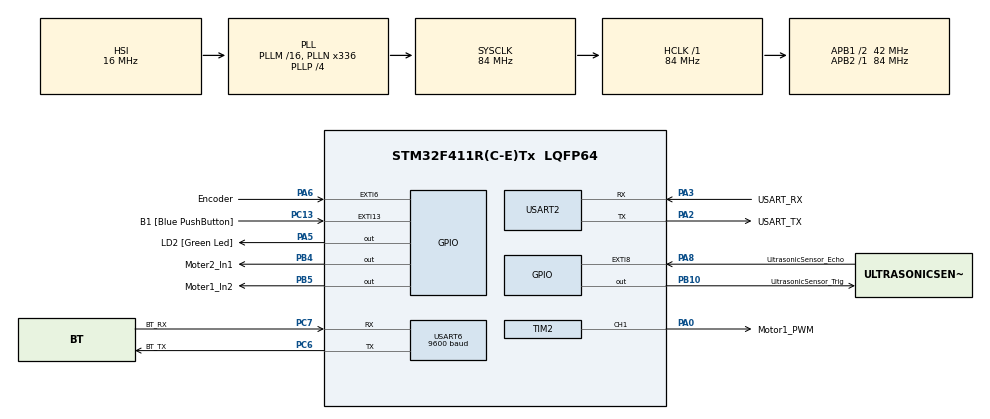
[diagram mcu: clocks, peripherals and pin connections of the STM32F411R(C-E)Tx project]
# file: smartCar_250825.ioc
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Mcu.Family=STM32F4
Mcu.Name=STM32F411R(C-E)Tx
Mcu.Package=LQFP64
NVIC.EXTI15_10_IRQn=true\:0\:0\:false\:false\:true\:true\:true\:true
NVIC.EXTI9_5_IRQn=true\:0\:0\:false\:false\:true\:true\:true\:true
NVIC.PriorityGroup=NVIC_PRIORITYGROUP_0
NVIC.TIM1_BRK_TIM9_IRQn=true\:0\:0\:false\:false\:true\:true\:true\:true
NVIC.TIM4_IRQn=true\:0\:0\:false\:false\:true\:true\:true\:true
NVIC.USART2_IRQn=true\:0\:0\:false\:false\:true\:true\:true\:true
NVIC.USART6_IRQn=true\:0\:0\:false\:false\:true\:true\:true\:true
PA0-WKUP.GPIO_Label=Motor1_PWM
PA0-WKUP.Signal=S_TIM2_CH1_ETR
PA13.GPIO_Label=TMS
PA13.Mode=Serial_Wire
PA13.Signal=SYS_JTMS-SWDIO
PA14.GPIO_Label=TCK
PA14.Mode=Serial_Wire
PA14.Signal=SYS_JTCK-SWCLK
PA2.GPIO_Label=USART_TX
PA2.Mode=Asynchronous
PA2.Signal=USART2_TX
PA3.GPIO_Label=USART_RX
PA3.Mode=Asynchronous
PA3.Signal=USART2_RX
PA5.GPIO_Label=LD2 [Green Led]
PA5.Signal=GPIO_Output
PA6.GPIO_Label=Encoder
PA6.GPIO_ModeDefaultEXTI=GPIO_MODE_IT_FALLING
PA6.Signal=GPXTI6
PA8.GPIO_Label=UltrasonicSensor_Echo
PA8.GPIO_ModeDefaultEXTI=GPIO_MODE_IT_RISING_FALLING
PA8.Signal=GPXTI8
PB10.GPIO_Label=UltrasonicSensor_Trig
PB10.Signal=GPIO_Output
PB3.GPIO_Label=SWO
PB3.Signal=SYS_JTDO-SWO
PB4.GPIO_Label=Moter2_In1
PB4.Signal=GPIO_Output
PB5.GPIO_Label=Moter1_In2
PB5.Signal=GPIO_Output
PC13-ANTI_TAMP.GPIO_Label=B1 [Blue PushButton]
PC13-ANTI_TAMP.GPIO_ModeDefaultEXTI=GPIO_MODE_IT_FALLING
PC13-ANTI_TAMP.Signal=GPXTI13
PC14-OSC32_IN.Mode=LSE-External-Oscillator
PC14-OSC32_IN.Signal=RCC_OSC32_IN
PC15-OSC32_OUT.Mode=LSE-External-Oscillator
PC15-OSC32_OUT.Signal=RCC_OSC32_OUT
PC6.GPIO_Label=BT_TX
PC6.GPIO_ModeDefaultPP=GPIO_MODE_AF_PP
PC6.GPIO_PuPd=GPIO_NOPULL
PC6.GPIO_Speed=GPIO_SPEED_FREQ_VERY_HIGH
PC6.Mode=Asynchronous
PC6.Signal=USART6_TX
PC7.GPIO_Label=BT_RX
PC7.GPIO_ModeDefaultPP=GPIO_MODE_AF_PP
PC7.GPIO_PuPd=GPIO_NOPULL
PC7.GPIO_Speed=GPIO_SPEED_FREQ_VERY_HIGH
PC7.Mode=Asynchronous
PC7.Signal=USART6_RX
PH0\ -\ OSC_IN.Mode=HSE-External-Clock-Source
PH0\ -\ OSC_IN.Signal=RCC_OSC_IN
PH1\ -\ OSC_OUT.Mode=HSE-External-Clock-Source
PH1\ -\ OSC_OUT.Signal=RCC_OSC_OUT
ProjectManager.HeapSize=0x200
ProjectManager.StackSize=0x400
ProjectManager.TargetToolchain=STM32CubeIDE
RCC.48MHZClocksFreq_Value=84000000
RCC.AHBFreq_Value=84000000
RCC.APB1CLKDivider=RCC_HCLK_DIV2
RCC.APB1Freq_Value=42000000
RCC.APB1TimFreq_Value=84000000
RCC.APB2Freq_Value=84000000
RCC.APB2TimFreq_Value=84000000
RCC.CortexFreq_Value=84000000
RCC.FLatency-AdvancedSettings=FLASH_LATENCY_2
RCC.HCLKFreq_Value=84000000
RCC.HSE_VALUE=8000000
RCC.HSI_VALUE=16000000
RCC.PLLN=336
RCC.PLLP=RCC_PLLP_DIV4
RCC.SYSCLKFreq_VALUE=84000000
RCC.SYSCLKSource=RCC_SYSCLKSOURCE_PLLCLK
RCC.VCOOutputFreq_Value=336000000
SH.S_TIM2_CH1_ETR.0=TIM2_CH1,PWM Generation1 CH1
TIM2.Channel-PWM\ Generation1\ CH1=TIM_CHANNEL_1
TIM2.Period=9999
TIM2.Prescaler=83
TIM4.Period=1999
TIM4.Prescaler=8399
TIM5.Period=0xFFFFFFFF
TIM5.Prescaler=83
TIM9.Period=199
TIM9.Prescaler=8399
USART2.VirtualMode=VM_ASYNC
USART6.BaudRate=9600
USART6.VirtualMode=VM_ASYNC
VP_TIM1_VS_ClockSourceINT.Mode=Internal
VP_TIM2_VS_ClockSourceINT.Mode=Internal
VP_TIM4_VS_ClockSourceINT.Mode=Internal
VP_TIM5_VS_ClockSourceINT.Mode=Internal
VP_TIM9_VS_ClockSourceINT.Mode=Internal
board=NUCLEO-F411RE

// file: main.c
/* USER CODE BEGIN Header */
/**
  ******************************************************************************
  * @file           : main.c
  * @brief          : Main program body
  ******************************************************************************
  * @attention
  *
  * Copyright (c) 2025 STMicroelectronics.
  * All rights reserved.
  *
  * This software is licensed under terms that can be found in the LICENSE file
  * in the root directory of this software component.
  * If no LICENSE file comes with this software, it is provided AS-IS.
  *
  ******************************************************************************
  */
/* USER CODE END Header */
#include "main.h"

/* USER CODE BEGIN Includes */
#include <stdio.h>
#include <string.h>
#include <math.h>
#include <stdlib.h>
/* USER CODE END Includes */

/* USER CODE BEGIN PD */
#define ULTRA_TRIG_GPIO_Port   GPIOB
#define ULTRA_TRIG_Pin         GPIO_PIN_10        // Trig: PB10 (Output)
#define ULTRA_ECHO_GPIO_Port   GPIOA
#define ULTRA_ECHO_Pin         GPIO_PIN_8         // Echo: PA8  (EXTI9_5)

#define MOTOR_GPIO_Port        GPIOB
#define MOTOR_IN1_Pin          GPIO_PIN_4         // L298N IN1: PB4
#define MOTOR_IN2_Pin          GPIO_PIN_5         // L298N IN2: PB5

#define MAX_GOAL_SPEED 100
//-------------BL ----------------------------------//
#ifdef __GNUC__
/* With GCC, small printf (option LD Linker->Libraries->Small printf
   set to 'Yes') calls __io_putchar() */
#define PUTCHAR_PROTOTYPE int __io_putchar(int ch)
#else
#define PUTCHAR_PROTOTYPE int fputc(int ch, FILE *f)
#endif /* __GNUC__ */
#define ARR_CNT 5
#define CMD_SIZE 50

//속도 계산을 위해 필요한 값
#define WHEEL_DIAMETER_CM   7.0f   // 알려주신 정확한 값
#define PI                  3.14159f
#define GEAR_RATIO          48.0f  // NP01D-288 (TT 모터)의 기어비
#define ENCODER_PULSE_PER_REV 20.0f  // 디스크 홀 수
#define SAMPLING_TIME_S     0.2f   // TIM4 인터럽트 주기 (200ms = 0.2s)
#define PULSE_TO_CM_PER_S_FACTOR ( (WHEEL_DIAMETER_CM * PI) / (ENCODER_PULSE_PER_REV * GEAR_RATIO) / SAMPLING_TIME_S )

/* USER CODE END PD */

TIM_HandleTypeDef htim1;
TIM_HandleTypeDef htim2;
TIM_HandleTypeDef htim4;
TIM_HandleTypeDef htim5;
TIM_HandleTypeDef htim9;

UART_HandleTypeDef huart2;
UART_HandleTypeDef huart6;

/* USER CODE BEGIN PV */

//	BL
uint8_t rx2char;
volatile unsigned char rx2Flag = 0;
volatile char rx2Data[50];
volatile unsigned char btFlag = 0;
uint8_t btchar;
char btData[50];

// 초음파
volatile uint8_t  echo_waiting = 0;
volatile uint8_t  echo_ready   = 0;
volatile uint32_t echo_ticks   = 0;   // μs
float distance_cm = NAN;

// 스케줄링
uint32_t last_ultra_ms  = 0;
uint32_t last_report_ms = 0;

// 엔코더  	PID
volatile uint16_t estep=0;
volatile uint16_t estep_read=0;
int a1=0;

float Pv=4.0;
float Iv=0.0155;
float Dv=0.5;

float err_P;
float err_I;
float err_D;
float err_B;

int goal=0;
int PID_val;

int test1=0;

float current_speed_cm_s = 0.0f;  //속도값

/* USER CODE END PV */

void SystemClock_Config(void);
static void MX_GPIO_Init(void);
static void MX_USART2_UART_Init(void);
static void MX_USART6_UART_Init(void);
static void MX_TIM2_Init(void);
static void MX_TIM5_Init(void);
static void MX_TIM9_Init(void);
static void MX_TIM1_Init(void);
static void MX_TIM4_Init(void);
/* USER CODE BEGIN PFP */
static inline void Delay_us(uint32_t us);
static inline void Ultrasonic_Trigger(void);

void bluetooth_Event();

/* USER CODE END PFP */

/* USER CODE BEGIN 0 */
/* 초음파 ---------------------------------------------------------*/
static inline void Delay_us(uint32_t us)
{
  uint32_t start = DWT->CYCCNT;
  uint32_t ticks = us * (SystemCoreClock / 1000000);
  while ((DWT->CYCCNT - start) < ticks) { __NOP(); }
}

static inline void Ultrasonic_Trigger(void)
{
  if (echo_waiting) return; // 직전 측정 완료 대기
  HAL_GPIO_WritePin(ULTRA_TRIG_GPIO_Port, ULTRA_TRIG_Pin, GPIO_PIN_SET);
  Delay_us(10);
  HAL_GPIO_WritePin(ULTRA_TRIG_GPIO_Port, ULTRA_TRIG_Pin, GPIO_PIN_RESET);
  echo_waiting = 1;
}

// pid
static inline uint16_t clamp255(int v){
  if (v < 0) return 0;
  if (v > 255) return 255;
  return (uint16_t)v;
}

static inline void Motor_SetPWM255(uint16_t d255)
{
  // ARR=9999에서 0~255를 스케일
  uint32_t arr = __HAL_TIM_GET_AUTORELOAD(&htim2);  // = 9999
  uint32_t cmp = ((uint32_t)d255 * arr) / 255U;
  __HAL_TIM_SET_COMPARE(&htim2, TIM_CHANNEL_1, cmp);
}

void pid_contrl()
{
	  //err_P=estep_read-goal; //현재 센서값-목표값 = p
  if (goal == 0) {
    err_I = 0;
  }
  err_P = goal - estep_read;
	/*	if (PID_val < 255 && PID_val > -255) {
		      err_I += err_P;
		  }*/

  err_I+=err_P;   // p의 값을 계쏙 더하는게i

  err_D=err_B-err_P;  // 이전 에러값-현재 에러값 뺴서 에러 변화량
  err_B=err_P;

  PID_val=((err_P*Pv)+(err_I*Iv)+(err_D*Dv));

  if(PID_val>=255) PID_val=255;
  if(PID_val<=-255) PID_val=-255;
}

/*void motor_controll(int a, int b, int m1_speed, int m2_speed)
{
	uint16_t d1 = clamp255(m1_speed);

  if(a!=0)
  {

     __HAL_TIM_SET_COMPARE(&htim2, TIM_CHANNEL_1, d1);
    // __HAL_TIM_SET_COMPARE(&htim2, TIM_CHANNEL_1, 0);
    }

}*/

static inline void Motor_SetDirForward(void){
  HAL_GPIO_WritePin(GPIOB, GPIO_PIN_4, GPIO_PIN_SET);   // IN1=1
  HAL_GPIO_WritePin(GPIOB, GPIO_PIN_5, GPIO_PIN_RESET); // IN2=0
}
static inline void Motor_SetDirReverse(void){
  HAL_GPIO_WritePin(GPIOB, GPIO_PIN_4, GPIO_PIN_RESET); // IN1=0
  HAL_GPIO_WritePin(GPIOB, GPIO_PIN_5, GPIO_PIN_SET);   // IN2=1
}

void motor_controll(int a, int b, int m1_speed, int m2_speed)
{
  (void)b; (void)m2_speed;         // L298N 1개만 사용
  uint16_t d1 = clamp255(m1_speed);

  if (a != 0) Motor_SetDirForward();
  else        Motor_SetDirReverse();

  Motor_SetPWM255(d1);
}

void PID_motor(int m1){
    goal=m1;
}

/* USER CODE END 0 */

int main(void)
{

  /* MCU Configuration--------------------------------------------------------*/

  /* Reset of all peripherals, Initializes the Flash interface and the Systick. */
  HAL_Init();

  /* Configure the system clock */
  SystemClock_Config();

  /* Initialize all configured peripherals */
  MX_GPIO_Init();
  MX_USART2_UART_Init();
  MX_USART6_UART_Init();
  MX_TIM2_Init();
  MX_TIM5_Init();
  MX_TIM9_Init();
  MX_TIM1_Init();
  MX_TIM4_Init();
  /* USER CODE BEGIN 2 */

  // DWT CYCCNT enable (Delay_us용)
  CoreDebug->DEMCR |= CoreDebug_DEMCR_TRCENA_Msk;
  DWT->CYCCNT = 0;
  DWT->CTRL  |= DWT_CTRL_CYCCNTENA_Msk;

  // 1) PWM 시작
  HAL_TIM_PWM_Start(&htim2, TIM_CHANNEL_1);

  // 2) 정방향(브리지 한쪽만 켜기)
  HAL_GPIO_WritePin(GPIOB, GPIO_PIN_4, GPIO_PIN_SET);   // IN1=1
  HAL_GPIO_WritePin(GPIOB, GPIO_PIN_5, GPIO_PIN_RESET); // IN2=0

  // 초음파 시간계 시작
  HAL_TIM_Base_Start(&htim5);

  // ★ 200 ms 주기 인터럽트 시작 (MsTimer2 대체)
  HAL_TIM_Base_Start_IT(&htim4);

  HAL_UART_Receive_IT(&huart2, &rx2char, 1);
  HAL_UART_Receive_IT(&huart6, &btchar, 1);

  PID_motor(50);

  /* USER CODE END 2 */

  /* Infinite loop */
  while (1)
  {

    /* USER CODE BEGIN 3 */
  uint32_t now = HAL_GetTick();

	  //------------------------- BL--------------------------------//
    if(rx2Flag)
    {
      printf("recv2 : %s\r\n",rx2Data);
      rx2Flag =0;
//  HAL_UART_Transmit(&huart6, (uint8_t *)buf, strlen(buf), 0xFFFF);
    }
    if(btFlag)
    {
//		printf("bt : %s\r\n",btData);
    btFlag =0;
    bluetooth_Event();
    }
	 //	  HAL_GPIO_TogglePin(GPIOC, GPIO_PIN_13);
	 //	  HAL_Delay(500);

//------------------------- BL--------------------------------//
	      /* 50 ms마다 트리거 */

//-----------초음파 000====-----------//
    if (now - last_ultra_ms >= 50 && !echo_waiting) {
      last_ultra_ms = now;
	  Ultrasonic_Trigger();
	}

	      // Echo 완료 → 거리 계산
    if (echo_ready) {
      echo_ready  = 0;
	  distance_cm = (float)echo_ticks * 0.0343f / 2.0f;
	}

	      // isnan()은 distance_cm이 유효한 숫자인지 확인합니다. (초기값 NAN 방지)
	if (!isnan(distance_cm)) {
	  int new_goal = 0;

	  if (distance_cm <= 10.0f) {
	// 10cm 이하이면 정지
	  new_goal = 0;
	  }
	  else if (distance_cm > 10.0f && distance_cm <= 20.0f) {
	// 10cm ~ 20cm 사이: 속도를 0에서 50으로 선형적으로 증가
	// (distance_cm - 10.0f) / 10.0f  -> 10~20cm 범위를 0~1 사이 값으로 정규화
		  new_goal = (int)(((distance_cm - 10.0f) / 10.0f) * 50.0f);
	  }
	  else if (distance_cm > 20.0f && distance_cm <= 30.0f) {
	    // 20cm ~ 30cm 사이: 속도를 50에서 100으로 선형적으로 증가
	    // 50을 기본 속도로 하고, 추가 속도를 계산하여 더함
	    new_goal = 50 + (int)(((distance_cm - 20.0f) / 10.0f) * 50.0f);
	  }
	  else { // 30cm 초과
		// 30cm를 넘으면 최고 속도
	    new_goal = MAX_GOAL_SPEED;
      }

	               // 계산된 새로운 목표 속도를 PID 제어기에 적용
	  PID_motor(new_goal);
    }
	current_speed_cm_s = estep_read * PULSE_TO_CM_PER_S_FACTOR;
	char buf2[100];
	//sprintf(buf2,"거리: %.1f Goal: %d, PID_val: %d\r\n",distance_cm, goal, PID_val);
	sprintf(buf2,"속도:%.1fcm/s Goal:%d PID:%d\r\n", current_speed_cm_s, goal, PID_val);
	HAL_UART_Transmit(&huart2, (uint8_t*)buf2, strlen(buf2), 10); // 타임아웃
  }
  /* USER CODE END 3 */
}

void SystemClock_Config(void)
{
  RCC_OscInitTypeDef RCC_OscInitStruct = {0};
  RCC_ClkInitTypeDef RCC_ClkInitStruct = {0};

  /** Configure the main internal regulator output voltage
  */
  __HAL_RCC_PWR_CLK_ENABLE();
  __HAL_PWR_VOLTAGESCALING_CONFIG(PWR_REGULATOR_VOLTAGE_SCALE1);

  /** Initializes the RCC Oscillators according to the specified parameters
  * in the RCC_OscInitTypeDef structure.
  */
  RCC_OscInitStruct.OscillatorType = RCC_OSCILLATORTYPE_HSI;
  RCC_OscInitStruct.HSIState = RCC_HSI_ON;
  RCC_OscInitStruct.HSICalibrationValue = RCC_HSICALIBRATION_DEFAULT;
  RCC_OscInitStruct.PLL.PLLState = RCC_PLL_ON;
  RCC_OscInitStruct.PLL.PLLSource = RCC_PLLSOURCE_HSI;
  RCC_OscInitStruct.PLL.PLLM = 16;
  RCC_OscInitStruct.PLL.PLLN = 336;
  RCC_OscInitStruct.PLL.PLLP = RCC_PLLP_DIV4;
  RCC_OscInitStruct.PLL.PLLQ = 4;
  if (HAL_RCC_OscConfig(&RCC_OscInitStruct) != HAL_OK)
  {
    Error_Handler();
  }

  /** Initializes the CPU, AHB and APB buses clocks
  */
  RCC_ClkInitStruct.ClockType = RCC_CLOCKTYPE_HCLK|RCC_CLOCKTYPE_SYSCLK
                              |RCC_CLOCKTYPE_PCLK1|RCC_CLOCKTYPE_PCLK2;
  RCC_ClkInitStruct.SYSCLKSource = RCC_SYSCLKSOURCE_PLLCLK;
  RCC_ClkInitStruct.AHBCLKDivider = RCC_SYSCLK_DIV1;
  RCC_ClkInitStruct.APB1CLKDivider = RCC_HCLK_DIV2;
  RCC_ClkInitStruct.APB2CLKDivider = RCC_HCLK_DIV1;

  if (HAL_RCC_ClockConfig(&RCC_ClkInitStruct, FLASH_LATENCY_2) != HAL_OK)
  {
    Error_Handler();
  }
}

static void MX_TIM1_Init(void)
{

  TIM_ClockConfigTypeDef sClockSourceConfig = {0};
  TIM_MasterConfigTypeDef sMasterConfig = {0};

  htim1.Instance = TIM1;
  htim1.Init.Prescaler = 0;
  htim1.Init.CounterMode = TIM_COUNTERMODE_UP;
  htim1.Init.Period = 65535;
  htim1.Init.ClockDivision = TIM_CLOCKDIVISION_DIV1;
  htim1.Init.RepetitionCounter = 0;
  htim1.Init.AutoReloadPreload = TIM_AUTORELOAD_PRELOAD_DISABLE;
  if (HAL_TIM_Base_Init(&htim1) != HAL_OK)
  {
    Error_Handler();
  }
  sClockSourceConfig.ClockSource = TIM_CLOCKSOURCE_INTERNAL;
  if (HAL_TIM_ConfigClockSource(&htim1, &sClockSourceConfig) != HAL_OK)
  {
    Error_Handler();
  }
  sMasterConfig.MasterOutputTrigger = TIM_TRGO_RESET;
  sMasterConfig.MasterSlaveMode = TIM_MASTERSLAVEMODE_DISABLE;
  if (HAL_TIMEx_MasterConfigSynchronization(&htim1, &sMasterConfig) != HAL_OK)
  {
    Error_Handler();
  }

}

static void MX_TIM2_Init(void)
{

  TIM_ClockConfigTypeDef sClockSourceConfig = {0};
  TIM_MasterConfigTypeDef sMasterConfig = {0};
  TIM_OC_InitTypeDef sConfigOC = {0};

  htim2.Instance = TIM2;
  htim2.Init.Prescaler = 83;
  htim2.Init.CounterMode = TIM_COUNTERMODE_UP;
  htim2.Init.Period = 9999;
  htim2.Init.ClockDivision = TIM_CLOCKDIVISION_DIV1;
  htim2.Init.AutoReloadPreload = TIM_AUTORELOAD_PRELOAD_DISABLE;
  if (HAL_TIM_Base_Init(&htim2) != HAL_OK)
  {
    Error_Handler();
  }
  sClockSourceConfig.ClockSource = TIM_CLOCKSOURCE_INTERNAL;
  if (HAL_TIM_ConfigClockSource(&htim2, &sClockSourceConfig) != HAL_OK)
  {
    Error_Handler();
  }
  if (HAL_TIM_PWM_Init(&htim2) != HAL_OK)
  {
    Error_Handler();
  }
  sMasterConfig.MasterOutputTrigger = TIM_TRGO_RESET;
  sMasterConfig.MasterSlaveMode = TIM_MASTERSLAVEMODE_DISABLE;
  if (HAL_TIMEx_MasterConfigSynchronization(&htim2, &sMasterConfig) != HAL_OK)
  {
    Error_Handler();
  }
  sConfigOC.OCMode = TIM_OCMODE_PWM1;
  sConfigOC.Pulse = 0;
  sConfigOC.OCPolarity = TIM_OCPOLARITY_HIGH;
  sConfigOC.OCFastMode = TIM_OCFAST_DISABLE;
  if (HAL_TIM_PWM_ConfigChannel(&htim2, &sConfigOC, TIM_CHANNEL_1) != HAL_OK)
  {
    Error_Handler();
  }
  HAL_TIM_MspPostInit(&htim2);

}

static void MX_TIM4_Init(void)
{

  TIM_ClockConfigTypeDef sClockSourceConfig = {0};
  TIM_MasterConfigTypeDef sMasterConfig = {0};

  htim4.Instance = TIM4;
  htim4.Init.Prescaler = 8399;
  htim4.Init.CounterMode = TIM_COUNTERMODE_UP;
  htim4.Init.Period = 1999;
  htim4.Init.ClockDivision = TIM_CLOCKDIVISION_DIV1;
  htim4.Init.AutoReloadPreload = TIM_AUTORELOAD_PRELOAD_DISABLE;
  if (HAL_TIM_Base_Init(&htim4) != HAL_OK)
  {
    Error_Handler();
  }
  sClockSourceConfig.ClockSource = TIM_CLOCKSOURCE_INTERNAL;
  if (HAL_TIM_ConfigClockSource(&htim4, &sClockSourceConfig) != HAL_OK)
  {
    Error_Handler();
  }
  sMasterConfig.MasterOutputTrigger = TIM_TRGO_RESET;
  sMasterConfig.MasterSlaveMode = TIM_MASTERSLAVEMODE_DISABLE;
  if (HAL_TIMEx_MasterConfigSynchronization(&htim4, &sMasterConfig) != HAL_OK)
  {
    Error_Handler();
  }

}

static void MX_TIM5_Init(void)
{

  TIM_ClockConfigTypeDef sClockSourceConfig = {0};
  TIM_MasterConfigTypeDef sMasterConfig = {0};

  htim5.Instance = TIM5;
  htim5.Init.Prescaler = 83;
  htim5.Init.CounterMode = TIM_COUNTERMODE_UP;
  htim5.Init.Period = 0xFFFFFFFF;
  htim5.Init.ClockDivision = TIM_CLOCKDIVISION_DIV1;
  htim5.Init.AutoReloadPreload = TIM_AUTORELOAD_PRELOAD_DISABLE;
  if (HAL_TIM_Base_Init(&htim5) != HAL_OK)
  {
    Error_Handler();
  }
  sClockSourceConfig.ClockSource = TIM_CLOCKSOURCE_INTERNAL;
  if (HAL_TIM_ConfigClockSource(&htim5, &sClockSourceConfig) != HAL_OK)
  {
    Error_Handler();
  }
  sMasterConfig.MasterOutputTrigger = TIM_TRGO_RESET;
  sMasterConfig.MasterSlaveMode = TIM_MASTERSLAVEMODE_DISABLE;
  if (HAL_TIMEx_MasterConfigSynchronization(&htim5, &sMasterConfig) != HAL_OK)
  {
    Error_Handler();
  }

}

static void MX_TIM9_Init(void)
{

  TIM_ClockConfigTypeDef sClockSourceConfig = {0};

  htim9.Instance = TIM9;
  htim9.Init.Prescaler = 8399;
  htim9.Init.CounterMode = TIM_COUNTERMODE_UP;
  htim9.Init.Period = 199;
  htim9.Init.ClockDivision = TIM_CLOCKDIVISION_DIV1;
  htim9.Init.AutoReloadPreload = TIM_AUTORELOAD_PRELOAD_DISABLE;
  if (HAL_TIM_Base_Init(&htim9) != HAL_OK)
  {
    Error_Handler();
  }
  sClockSourceConfig.ClockSource = TIM_CLOCKSOURCE_INTERNAL;
  if (HAL_TIM_ConfigClockSource(&htim9, &sClockSourceConfig) != HAL_OK)
  {
    Error_Handler();
  }

}

static void MX_USART2_UART_Init(void)
{

  huart2.Instance = USART2;
  huart2.Init.BaudRate = 115200;
  huart2.Init.WordLength = UART_WORDLENGTH_8B;
  huart2.Init.StopBits = UART_STOPBITS_1;
  huart2.Init.Parity = UART_PARITY_NONE;
  huart2.Init.Mode = UART_MODE_TX_RX;
  huart2.Init.HwFlowCtl = UART_HWCONTROL_NONE;
  huart2.Init.OverSampling = UART_OVERSAMPLING_16;
  if (HAL_UART_Init(&huart2) != HAL_OK)
  {
    Error_Handler();
  }

}

static void MX_USART6_UART_Init(void)
{

  huart6.Instance = USART6;
  huart6.Init.BaudRate = 9600;
  huart6.Init.WordLength = UART_WORDLENGTH_8B;
  huart6.Init.StopBits = UART_STOPBITS_1;
  huart6.Init.Parity = UART_PARITY_NONE;
  huart6.Init.Mode = UART_MODE_TX_RX;
  huart6.Init.HwFlowCtl = UART_HWCONTROL_NONE;
  huart6.Init.OverSampling = UART_OVERSAMPLING_16;
  if (HAL_UART_Init(&huart6) != HAL_OK)
  {
    Error_Handler();
  }

}

static void MX_GPIO_Init(void)
{
  GPIO_InitTypeDef GPIO_InitStruct = {0};

  /* GPIO Ports Clock Enable */
  __HAL_RCC_GPIOC_CLK_ENABLE();
  __HAL_RCC_GPIOH_CLK_ENABLE();
  __HAL_RCC_GPIOA_CLK_ENABLE();
  __HAL_RCC_GPIOB_CLK_ENABLE();

  /*Configure GPIO pin Output Level */
  HAL_GPIO_WritePin(LD2_GPIO_Port, LD2_Pin, GPIO_PIN_RESET);

  /*Configure GPIO pin Output Level */
  HAL_GPIO_WritePin(GPIOB, UltrasonicSensor_Trig_Pin|Moter2_In1_Pin|Moter1_In2_Pin, GPIO_PIN_RESET);

  /*Configure GPIO pin : B1_Pin */
  GPIO_InitStruct.Pin = B1_Pin;
  GPIO_InitStruct.Mode = GPIO_MODE_IT_FALLING;
  GPIO_InitStruct.Pull = GPIO_NOPULL;
  HAL_GPIO_Init(B1_GPIO_Port, &GPIO_InitStruct);

  /*Configure GPIO pin : LD2_Pin */
  GPIO_InitStruct.Pin = LD2_Pin;
  GPIO_InitStruct.Mode = GPIO_MODE_OUTPUT_PP;
  GPIO_InitStruct.Pull = GPIO_NOPULL;
  GPIO_InitStruct.Speed = GPIO_SPEED_FREQ_LOW;
  HAL_GPIO_Init(LD2_GPIO_Port, &GPIO_InitStruct);

  /*Configure GPIO pin : Encoder_Pin */
  GPIO_InitStruct.Pin = Encoder_Pin;
  GPIO_InitStruct.Mode = GPIO_MODE_IT_FALLING;
  GPIO_InitStruct.Pull = GPIO_NOPULL;
  HAL_GPIO_Init(Encoder_GPIO_Port, &GPIO_InitStruct);

  /*Configure GPIO pins : UltrasonicSensor_Trig_Pin Moter2_In1_Pin Moter1_In2_Pin */
  GPIO_InitStruct.Pin = UltrasonicSensor_Trig_Pin|Moter2_In1_Pin|Moter1_In2_Pin;
  GPIO_InitStruct.Mode = GPIO_MODE_OUTPUT_PP;
  GPIO_InitStruct.Pull = GPIO_NOPULL;
  GPIO_InitStruct.Speed = GPIO_SPEED_FREQ_LOW;
  HAL_GPIO_Init(GPIOB, &GPIO_InitStruct);

  /*Configure GPIO pin : UltrasonicSensor_Echo_Pin */
  GPIO_InitStruct.Pin = UltrasonicSensor_Echo_Pin;
  GPIO_InitStruct.Mode = GPIO_MODE_IT_RISING_FALLING;
  GPIO_InitStruct.Pull = GPIO_NOPULL;
  HAL_GPIO_Init(UltrasonicSensor_Echo_GPIO_Port, &GPIO_InitStruct);

  /* EXTI interrupt init*/
  HAL_NVIC_SetPriority(EXTI9_5_IRQn, 0, 0);
  HAL_NVIC_EnableIRQ(EXTI9_5_IRQn);

  HAL_NVIC_SetPriority(EXTI15_10_IRQn, 0, 0);
  HAL_NVIC_EnableIRQ(EXTI15_10_IRQn);

}

/* USER CODE BEGIN 4 */
void bluetooth_Event()
{

  int i=0;
  char * pToken;
  char * pArray[ARR_CNT]={0};
  char recvBuf[CMD_SIZE]={0};
  char sendBuf[CMD_SIZE]={0};
  strcpy(recvBuf,btData);

  printf("btData : %s\r\n",btData);

  pToken = strtok(recvBuf,"[@]");
  while(pToken != NULL)
  {
    pArray[i] =  pToken;
    if(++i >= ARR_CNT)
      break;
    pToken = strtok(NULL,"[@]");
  }

  if(i > 1 && !strcmp(pArray[1], "INFO"))
  {
    sprintf(sendBuf,"[ALLMSG]%.2f@%.2f@%d\r\n", current_speed_cm_s, distance_cm, PID_val);
    HAL_UART_Transmit(&huart6, (uint8_t *)sendBuf, strlen(sendBuf), 0xFFFF);
    HAL_UART_Transmit(&huart2, (uint8_t*)sendBuf, strlen(sendBuf), HAL_MAX_DELAY);
  }
  else
  {
        // 알 수 없는 명령이 들어왔을 경우 응답합니다.
    sprintf(sendBuf, "[%s]UNKNOWN_CMD\r\n", pArray[0]);
    HAL_UART_Transmit(&huart6, (uint8_t *)sendBuf, strlen(sendBuf), HAL_MAX_DELAY);
  }
}

void HAL_TIM_PeriodElapsedCallback(TIM_HandleTypeDef *htim)
{
  if (htim->Instance == TIM4) {
    // MsTimer2::set(200, t_intrrupt) 대체 동작
    estep_read = estep;    // 0.2s 동안의 펄스 수
    estep = 0;

    // PID 계산
    pid_contrl();

    // 아두이노 원본 로직과 동일하게 출력
    motor_controll(0, 0, abs(PID_val), 0);

    int dir = (PID_val >= 0) ? 1 : 0;      // +면 정방향, -면 역방향
    motor_controll(dir, 0, abs(PID_val), 0);
  }
}

void HAL_GPIO_EXTI_Callback(uint16_t GPIO_Pin)
{
  if (GPIO_Pin == GPIO_PIN_6) {          // ENC: PA6 (FALLING만)
    estep++;                     // 정말 이것만!
    return;
  }

  if (GPIO_Pin == ULTRA_ECHO_Pin) {
    if (HAL_GPIO_ReadPin(ULTRA_ECHO_GPIO_Port, ULTRA_ECHO_Pin) == GPIO_PIN_SET) {
        __HAL_TIM_SET_COUNTER(&htim5, 0);          // Rising:    꾩뒪 ы봽 0
    } else {
      echo_ticks  = __HAL_TIM_GET_COUNTER(&htim5); // Falling: 寃쎄낵 關s
      echo_ready  = 1;
      echo_waiting = 0;
    }
  }
}

PUTCHAR_PROTOTYPE
{
  /* Place your implementation of fputc here */
  /* e.g. write a character to the USART6 and Loop until the end of transmission */
  HAL_UART_Transmit(&huart2, (uint8_t *)&ch, 1, 0xFFFF);

  return ch;
}
void HAL_UART_RxCpltCallback(UART_HandleTypeDef *huart)
{
    if(huart->Instance == USART2)
    {
    	static int i=0;
    	rx2Data[i] = rx2char;
    	if((rx2Data[i] == '\r')||(btData[i] == '\n'))
    	{
    		rx2Data[i] = '\0';
    		rx2Flag = 1;
    		i = 0;
    	}
    	else
    	{
    		i++;
    	}
    	HAL_UART_Receive_IT(&huart2, &rx2char,1);
    }
    if(huart->Instance == USART6)
    {
    	static int i=0;
    	btData[i] = btchar;
    	if((btData[i] == '\n') || btData[i] == '\r')
    	{
    		btData[i] = '\0';
    		btFlag = 1;
    		i = 0;
    	}
    	else
    	{
    		i++;
    	}
    	HAL_UART_Receive_IT(&huart6, &btchar,1);
    }
}

/* USER CODE END 4 */

void Error_Handler(void)
{
  __disable_irq();
  while (1)
  {
  }
}
